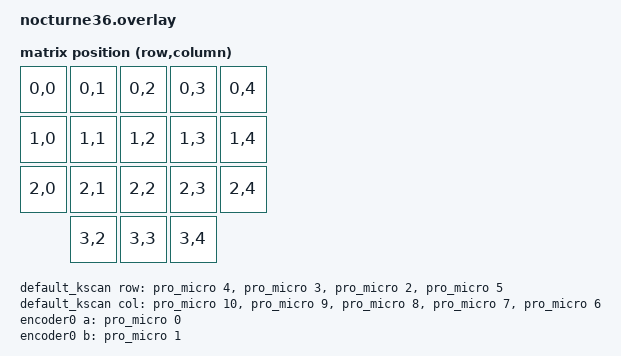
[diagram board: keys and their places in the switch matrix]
#include <dt-bindings/zmk/matrix_transform.h>

/ {
    chosen {
        zmk,kscan = &default_kscan;
        zmk,matrix_transform = &default_transform;
        zephyr,display = &oled_display;
    };

    /* MATRIX SCAN */
    default_kscan: kscan {
        compatible = "zmk,kscan-gpio-matrix";
        label = "default_kscan";
        wakeup-source;
        diode-direction = "col2row";

        col-gpios =
            <&pro_micro 10 GPIO_ACTIVE_HIGH>,  /* col0  → D10 → P0.09 */
            <&pro_micro 9  GPIO_ACTIVE_HIGH>,  /* col1  → D9  → P1.06 */
            <&pro_micro 8  GPIO_ACTIVE_HIGH>,  /* col2  → D8  → P1.04 */
            <&pro_micro 7  GPIO_ACTIVE_HIGH>,  /* col3  → D7  → P0.11 */
            <&pro_micro 6  GPIO_ACTIVE_HIGH>;  /* col4  → D6  → P1.00 */

        row-gpios =
            <&pro_micro 4 (GPIO_ACTIVE_HIGH | GPIO_PULL_DOWN)>,  /* row0 → D4 → P0.22 */
            <&pro_micro 3 (GPIO_ACTIVE_HIGH | GPIO_PULL_DOWN)>,  /* row1 → D3 → P0.20 */
            <&pro_micro 2 (GPIO_ACTIVE_HIGH | GPIO_PULL_DOWN)>,  /* row2 → D2 → P0.17 */
            <&pro_micro 5 (GPIO_ACTIVE_HIGH | GPIO_PULL_DOWN)>;  /* row3 → D5 → P0.24 */
    };

    /* MATRIX TRANSFORM */
    default_transform: matrix_transform {
        compatible = "zmk,matrix_transform";
        rows = <4>;
        columns = <5>;

        map = <
            RC(0,0) RC(0,1) RC(0,2) RC(0,3) RC(0,4)
            RC(1,0) RC(1,1) RC(1,2) RC(1,3) RC(1,4)
            RC(2,0) RC(2,1) RC(2,2) RC(2,3) RC(2,4)
                    RC(3,2) RC(3,3) RC(3,4)
        >;
    };
};

/* ENCODER  
 * Uses D0 (A) and D1 (B)
 */
&kscan {
    encoder0: encoder_0 {
        compatible = "zmk,kscan-encoder";
        a-gpios = <&pro_micro 0 GPIO_ACTIVE_HIGH>;  /* D0 → P0.06 */
        b-gpios = <&pro_micro 1 GPIO_ACTIVE_HIGH>;  /* D1 → P0.08 */
        steps = <4>;
    };
};

/* OLED  
 * SDA = D11  
 * SCL = D12
 */
&i2c0 {
    compatible = "nordic,nrf-twi";
    status = "okay";

    sda-pin = <11>;  /* D11 → P0.10 */
    scl-pin = <12>;  /* D12 → P1.11 */

    oled_display: ssd1306@3c {
        compatible = "solomon,ssd1306fb";
        reg = <0x3c>;
        label = "OLED";
        width = <128>;
        height = <64>;
    };
};
